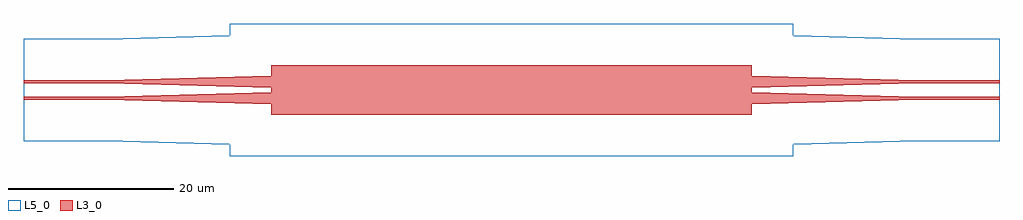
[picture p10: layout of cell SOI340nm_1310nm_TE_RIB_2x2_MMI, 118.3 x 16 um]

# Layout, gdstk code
import gdstk
lib = gdstk.Library(unit=1e-6, precision=1e-09)
def R(c, l, rs):  # rectangles x0, y0, x1, y1
    for r in rs: c.add(gdstk.rectangle(r[:2], r[2:], *l))
def P(c, l, *ps):  # polygons
    for p in ps: c.add(gdstk.Polygon(p, *l))
L3_0 = (3, 0)
L5_0 = (5, 0)

soi340nm_1310nm_te_rib_2 = lib.new_cell('SOI340nm_1310nm_TE_RIB_2x2_MMI')
R(soi340nm_1310nm_te_rib_2, L3_0, [(-29.15,-3,29.15,3), (-59.15,-1.2,-49.15,-0.8), (49.15,-1.2,59.15,-0.8), (-59.15,0.8,-49.15,1.2), (49.15,0.8,59.15,1.2)])
P(soi340nm_1310nm_te_rib_2, L3_0, [(29.15,0.25),(29.15,1.75),(49.15,1.2),(49.15,0.8)],
  [(29.15,-1.75),(29.15,-0.25),(49.15,-0.8),(49.15,-1.2)],
  [(-29.15,0.25),(-49.15,0.8),(-49.15,1.2),(-29.15,1.75)],
  [(-29.15,-1.75),(-49.15,-1.2),(-49.15,-0.8),(-29.15,-0.25)])
P(soi340nm_1310nm_te_rib_2, L5_0, [(-34.15,-8),(-34.15,-6.614),(-49.214,-6.2),(-59.15,-6.2),(-59.15,6.2),(-49.214,6.2),(-34.15,6.614),(-34.15,8),(34.15,8),(34.15,6.614),(49.214,6.2),(59.15,6.2),(59.15,-6.2),(49.214,-6.2),(34.15,-6.614),(34.15,-8)])

lib.write_gds('SOI340nm_1310nm_TE_RIB_2x2_MMI.gds')
